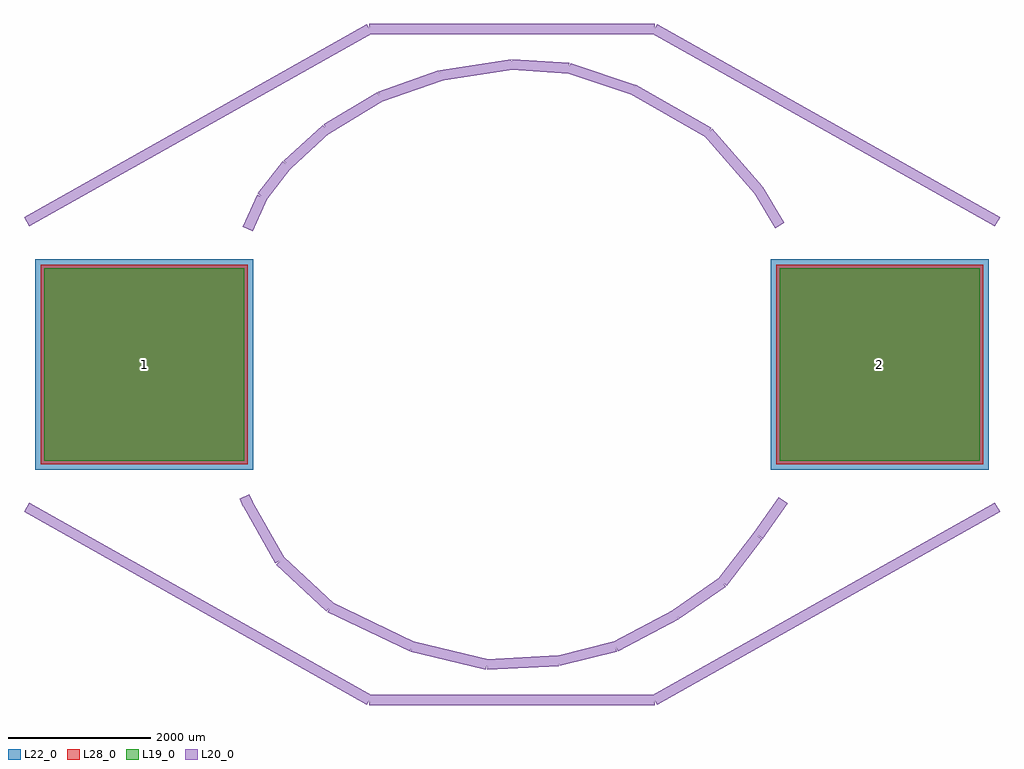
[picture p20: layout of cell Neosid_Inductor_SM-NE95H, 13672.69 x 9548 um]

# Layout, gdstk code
import gdstk
lib = gdstk.Library(unit=1e-6, precision=1e-09)
def R(c, l, rs):  # rectangles x0, y0, x1, y1
    for r in rs: c.add(gdstk.rectangle(r[:2], r[2:], *l))
L19_0 = (19, 0)
L20_0 = (20, 0)
L22_0 = (22, 0)
L28_0 = (28, 0)

neosid_inductor_sm_ne95h = lib.new_cell('Neosid_Inductor_SM-NE95H')
R(neosid_inductor_sm_ne95h, L19_0, [(-6551.46,-1349.54,-3750.78,1349.54), (3750.78,-1349.54,6551.46,1349.54)])
R(neosid_inductor_sm_ne95h, L22_0, [(-6676.46,-1474.54,-3625.78,1474.54), (3625.78,-1474.54,6676.46,1474.54)])
R(neosid_inductor_sm_ne95h, L28_0, [(-6601.46,-1399.54,-3700.78,1399.54), (3700.78,-1399.54,6601.46,1399.54)])
neosid_inductor_sm_ne95h.add(gdstk.FlexPath([(-1998.98,4699),(-6799.58,1998.98)], 149.998, ends="flush", simple_path=True, layer=20, datatype=0))  # L20_0
neosid_inductor_sm_ne95h.add(gdstk.FlexPath([(1998.98,4699),(-1998.98,4699)], 149.998, ends="flush", simple_path=True, layer=20, datatype=0))  # L20_0
neosid_inductor_sm_ne95h.add(gdstk.FlexPath([(6799.58,1998.98),(1998.98,4699)], 149.998, ends="flush", simple_path=True, layer=20, datatype=0))  # L20_0
neosid_inductor_sm_ne95h.add(gdstk.FlexPath([(-1998.98,-4699),(-6799.58,-1998.98)], 149.998, ends="flush", simple_path=True, layer=20, datatype=0))  # L20_0
neosid_inductor_sm_ne95h.add(gdstk.FlexPath([(1998.98,-4699),(-1998.98,-4699)], 149.998, ends="flush", simple_path=True, layer=20, datatype=0))  # L20_0
neosid_inductor_sm_ne95h.add(gdstk.FlexPath([(6799.58,-1998.98),(1998.98,-4699)], 149.998, ends="flush", simple_path=True, layer=20, datatype=0))  # L20_0
neosid_inductor_sm_ne95h.add(gdstk.FlexPath([(-3700.78,-1950.72),(-3749.04,-1849.12)], 149.998, ends="flush", simple_path=True, layer=20, datatype=0))  # L20_0
neosid_inductor_sm_ne95h.add(gdstk.FlexPath([(-3251.2,-2750.82),(-3700.78,-1950.72)], 149.998, ends="flush", simple_path=True, layer=20, datatype=0))  # L20_0
neosid_inductor_sm_ne95h.add(gdstk.FlexPath([(-2550.16,-3401.06),(-3251.2,-2750.82)], 149.998, ends="flush", simple_path=True, layer=20, datatype=0))  # L20_0
neosid_inductor_sm_ne95h.add(gdstk.FlexPath([(-1399.54,-3949.7),(-2550.16,-3401.06)], 149.998, ends="flush", simple_path=True, layer=20, datatype=0))  # L20_0
neosid_inductor_sm_ne95h.add(gdstk.FlexPath([(-350.52,-4201.16),(-1399.54,-3949.7)], 149.998, ends="flush", simple_path=True, layer=20, datatype=0))  # L20_0
neosid_inductor_sm_ne95h.add(gdstk.FlexPath([(650.24,-4150.36),(-350.52,-4201.16)], 149.998, ends="flush", simple_path=True, layer=20, datatype=0))  # L20_0
neosid_inductor_sm_ne95h.add(gdstk.FlexPath([(1450.34,-3949.7),(650.24,-4150.36)], 149.998, ends="flush", simple_path=True, layer=20, datatype=0))  # L20_0
neosid_inductor_sm_ne95h.add(gdstk.FlexPath([(2301.24,-3500.12),(1450.34,-3949.7)], 149.998, ends="flush", simple_path=True, layer=20, datatype=0))  # L20_0
neosid_inductor_sm_ne95h.add(gdstk.FlexPath([(2948.94,-3050.54),(2301.24,-3500.12)], 149.998, ends="flush", simple_path=True, layer=20, datatype=0))  # L20_0
neosid_inductor_sm_ne95h.add(gdstk.FlexPath([(3449.32,-2400.3),(2948.94,-3050.54)], 149.998, ends="flush", simple_path=True, layer=20, datatype=0))  # L20_0
neosid_inductor_sm_ne95h.add(gdstk.FlexPath([(3799.84,-1899.92),(3449.32,-2400.3)], 149.998, ends="flush", simple_path=True, layer=20, datatype=0))  # L20_0
neosid_inductor_sm_ne95h.add(gdstk.FlexPath([(3449.32,2451.1),(3749.04,1950.72)], 149.998, ends="flush", simple_path=True, layer=20, datatype=0))  # L20_0
neosid_inductor_sm_ne95h.add(gdstk.FlexPath([(2750.82,3251.2),(3449.32,2451.1)], 149.998, ends="flush", simple_path=True, layer=20, datatype=0))  # L20_0
neosid_inductor_sm_ne95h.add(gdstk.FlexPath([(1699.26,3850.64),(2750.82,3251.2)], 149.998, ends="flush", simple_path=True, layer=20, datatype=0))  # L20_0
neosid_inductor_sm_ne95h.add(gdstk.FlexPath([(800.1,4150.36),(1699.26,3850.64)], 149.998, ends="flush", simple_path=True, layer=20, datatype=0))  # L20_0
neosid_inductor_sm_ne95h.add(gdstk.FlexPath([(0,4201.16),(800.1,4150.36)], 149.998, ends="flush", simple_path=True, layer=20, datatype=0))  # L20_0
neosid_inductor_sm_ne95h.add(gdstk.FlexPath([(-1000.76,4048.76),(0,4201.16)], 149.998, ends="flush", simple_path=True, layer=20, datatype=0))  # L20_0
neosid_inductor_sm_ne95h.add(gdstk.FlexPath([(-1849.12,3749.04),(-1000.76,4048.76)], 149.998, ends="flush", simple_path=True, layer=20, datatype=0))  # L20_0
neosid_inductor_sm_ne95h.add(gdstk.FlexPath([(-2600.96,3299.46),(-1849.12,3749.04)], 149.998, ends="flush", simple_path=True, layer=20, datatype=0))  # L20_0
neosid_inductor_sm_ne95h.add(gdstk.FlexPath([(-3149.6,2799.08),(-2600.96,3299.46)], 149.998, ends="flush", simple_path=True, layer=20, datatype=0))  # L20_0
neosid_inductor_sm_ne95h.add(gdstk.FlexPath([(-3500.12,2349.5),(-3149.6,2799.08)], 149.998, ends="flush", simple_path=True, layer=20, datatype=0))  # L20_0
neosid_inductor_sm_ne95h.add(gdstk.FlexPath([(-3700.78,1899.92),(-3500.12,2349.5)], 149.998, ends="flush", simple_path=True, layer=20, datatype=0))  # L20_0
neosid_inductor_sm_ne95h.add(gdstk.Label('2', (5151.12,0), layer=28, texttype=0))
neosid_inductor_sm_ne95h.add(gdstk.Label('1', (-5151.12,0), layer=28, texttype=0))
neosid_inductor_sm_ne95h.add(gdstk.Label('type', (50.8,-6499.86), layer=9, texttype=0))
neosid_inductor_sm_ne95h.add(gdstk.Label('devicename', (0,6299.2), layer=9, texttype=0))

lib.write_gds('Neosid_Inductor_SM-NE95H.gds')
